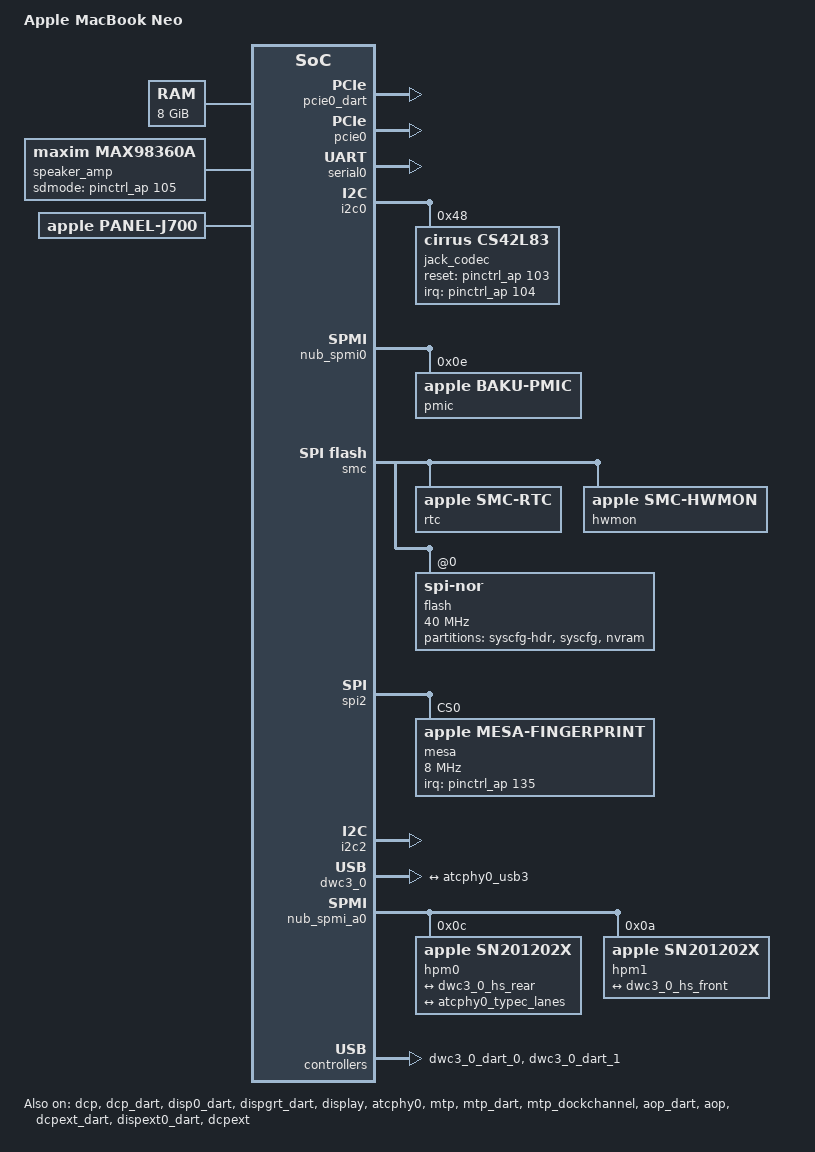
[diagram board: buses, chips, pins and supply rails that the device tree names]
// SPDX-License-Identifier: GPL-2.0+ OR MIT
/*
 * Apple MacBook Neo
 *
 * target-type: J700
 *
 * Copyright The Asahi Linux Contributors
 */

/dts-v1/;

#include "t8140.dtsi"
/ {
	compatible = "apple,j700", "apple,t8140", "apple,arm-platform";
	model = "Apple MacBook Neo";

	aliases {
		atcphy0 = &atcphy0;
		dcp = &dcp;
		dcp0 = &dcp;
		disp0 = &display;
		disp0_piodma = &disp0_piodma;
		serial0 = &serial0;
		keyboard = &keyboard;
	};

	chosen {
		#address-cells = <2>;
		#size-cells = <2>;
		ranges;
		stdout-path = "serial0";

		framebuffer0: framebuffer@0 {
			compatible = "apple,simple-framebuffer", "simple-framebuffer";
			reg = <0 0 0 0>; /* To be filled by loader */
			power-domains = <&ps_disp_cpu>;
			/* Format properties will be added by loader */
			status = "disabled";
		};
	};

	reserved-memory {
		#address-cells = <2>;
		#size-cells = <2>;
		ranges;
		/* To be filled by loader */
	};

	memory@800000000 {
		device_type = "memory";
		reg = <0x100 0 0x2 0>; /* To be filled by loader */
	};

	/* Live /arm-io/clock-frequencies entries 0x154 and 0x194. */
	clk_disp0_154: clock-disp0-154 {
		compatible = "fixed-clock";
		#clock-cells = <0>;
		clock-frequency = <300000000>;
		clock-output-names = "clk_disp0_154";
	};

	clk_disp0_194: clock-disp0-194 {
		compatible = "fixed-clock";
		#clock-cells = <0>;
		clock-frequency = <450000000>;
		clock-output-names = "clk_disp0_194";
	};
};

&dcp {
	clocks = <&clk_disp0_154>, <&clk_disp0_194>;
	clock-names = "clock-154", "clock-194";
	/* The iBoot and macOS captures both use IOMFB surface slot 0. */
	apple,iomfb-surfaces = <0>;
	status = "okay";

	panel: panel {
		compatible = "apple,panel-j700", "apple,panel";
		/* 2408x1506 at the ADT's measured 219 dpi. */
		width-mm = <279>;
		height-mm = <175>;
		/* ADT LmaxProduct is 525 in 16.16 fixed point. */
		apple,max-brightness = <525>;
	};
};

&dcp_dart {
	status = "okay";
};

&dcp_mbox {
	status = "okay";
};

&disp0_dart {
	status = "okay";
};

&dispgrt_dart {
	status = "okay";
};

/* The loader stops only the ASC CPU and leaves the display domain active. */
&ps_disp_cpu {
	apple,always-on;
};

&display {
	status = "okay";
};

&framebuffer0 {
	panel = <&panel>;
	post-init-providers = <&panel>;
};

/*
 * Phase-1 wireless inventory only.  The exact register windows, IRQs, port
 * count, MSI range and PERST GPIO come from the live J700 ADT captured as
 * neo-bringup/build/j700-live-adt.bin (SHA-256 f117dd865b13ce90336e5a070b333ea45b1620320be576260c0e36d5f24a2e3c).
 * m1n1 has already initialized port 0 and left its link up before Linux.
 * Describe only the generic host bridge here: no bogus Broadcom compatible,
 * no endpoint node, and no IOMMU RID/SID map until PCI enumeration proves the
 * two real functions and Phase 2 authorizes DMA.
 */
&soc {
	pcie0_dart: iommu@390000000 {
		compatible = "apple,t8140-dart", "apple,t8110-dart";
		reg = <0x3 0x90000000 0x0 0x20000>;
		#iommu-cells = <1>;
		interrupt-parent = <&aic>;
		interrupts = <AIC_IRQ 1206 IRQ_TYPE_LEVEL_HIGH>;
		power-domains = <&ps_apcie_sys_gp>;
	};

	pcie0: pcie@1cb0000000 {
		compatible = "apple,t8140-pcie", "apple,t6020-pcie";
		device_type = "pci";

		reg = <0x1c 0xb0000000 0x0 0x10000000>, /* ECAM */
		      <0x3 0x94000000 0x0 0x4000>,     /* RC */
		      <0x3 0x90028000 0x0 0x8000>,     /* port 0 */
		      <0x3 0x97020000 0x0 0x4000>;     /* port 0 PHY */
		reg-names = "config", "rc", "port0", "phy0";

		interrupt-parent = <&aic>;
		interrupts = <AIC_IRQ 1205 IRQ_TYPE_LEVEL_HIGH>;

		msi-controller;
		msi-parent = <&pcie0>;
		msi-ranges = <&aic AIC_IRQ 1331 IRQ_TYPE_EDGE_RISING 32>;
		power-domains = <&ps_apcie_sys_gp>;

		bus-range = <0 8>;
		#address-cells = <3>;
		#size-cells = <2>;
		ranges = <0x43000000 0xb 0xc0000000 0xb 0xc0000000 0x0 0x20000000>,
			 <0x02000000 0x0 0x80000000 0xb 0x80000000 0x0 0x40000000>;

		port00: pci@0,0 {
			device_type = "pci";
			reg = <0x0 0x0 0x0 0x0 0x0>;
			reset-gpios = <&pinctrl_ap 114 GPIO_ACTIVE_LOW>;
			/*
			 * Live J700 ADT function-reg_on is
			 * pKW8("pcIO", 0x800000, 0x80000).  Aurora IRC
			 * 92012-92014 records the hardware pass through the existing
			 * macsmc-gpio provider as pin 8.
			 */
			pwren-gpios = <&smc_gpio 8 GPIO_ACTIVE_HIGH>;
			maximum-link-speed = <2>;

			#address-cells = <3>;
			#size-cells = <2>;
			ranges;

			interrupt-controller;
			#interrupt-cells = <1>;
			interrupt-map-mask = <0 0 0 7>;
			interrupt-map = <0 0 0 1 &port00 0 0 0 0>,
					<0 0 0 2 &port00 0 0 0 1>,
					<0 0 0 3 &port00 0 0 0 2>,
					<0 0 0 4 &port00 0 0 0 3>;
		};
	};
};

&serial0 {
	status = "okay";
};

&pinctrl_ap {
	status = "okay";
};

/*
 * 3.5 mm headphone codec (live J700 ADT /arm-io/i2c0/audio-codec-output:
 * audio-control,cs42l83 at 0x48, function-reset GPIO 103, interrupts
 * [104, 1] on gpio0).  The m1n1 hardware proof released reset through
 * GPIO 103, read ID 42/a8/3a revision B0 and heard a tone at 24 dB
 * attenuation with upstream's 6 MHz -> 12 MHz MCLK PLL tuple.
 */
&i2c0 {
	status = "okay";

	jack_codec: codec@48 {
		compatible = "cirrus,cs42l83";
		reg = <0x48>;
		reset-gpios = <&pinctrl_ap 103 GPIO_ACTIVE_HIGH>;
		interrupt-parent = <&pinctrl_ap>;
		interrupts = <104 IRQ_TYPE_LEVEL_LOW>;
		#sound-dai-cells = <0>;
		cirrus,ts-inv = <1>;
		sound-name-prefix = "Jack";
	};
};

/*
 * Internal speaker amplifier (ADT audio-speaker audio-control,max98360,
 * function-reset GPIO 105 = the SD_MODE enable; in 25G76
 * AppleMAX98360Amp::SetMuteControl(1) drives it low, unmute high).  The
 * pin is iBoot's output-low at Linux boot and nothing raises it until a
 * driver takes sdmode-gpios: the codec driver from DAPM, or the bench
 * bounded-tone step (hrtimer-guarded, -50 dBFS ceiling).  The MAX98360
 * has no current/voltage sense, so speakersafetyd does not apply and the
 * digital ceiling lives in the machine driver.
 */
/ {
	speaker_amp: audio-amplifier {
		compatible = "maxim,max98360a";
		sdmode-gpios = <&pinctrl_ap 105 GPIO_ACTIVE_HIGH>;
		#sound-dai-cells = <0>;
		sound-name-prefix = "Speaker";
	};
};

&smc_mbox {
	status = "okay";
};

/*
 * The PMU (baku, USID 0xe on nub-spmi0) carries the boot-stage / error /
 * panic counters, the shutdown flag and the RTC offset as SPMI NVMEM cells
 * (J700 ADT pmu-main@E, info-leg_scrpad 0xf700, info-rtc 0xf802; satchlj's
 * t8140-j700-radio.dts, 2026-09-18).  Without the shutdown flag every
 * poweroff turns into a reboot.  The RTC offset cell is wired but not yet
 * proven to commit: rtc-macsmc reports an invalid time until an offset
 * exists rather than 1971.
 */
&{/soc} {
	nub_spmi0: spmi@308714000 {
		compatible = "apple,t8140-spmi", "apple,t8103-spmi";
		reg = <0x3 0x08714000 0x0 0x100>;
		#address-cells = <2>;
		#size-cells = <0>;
		#interrupt-cells = <2>;
		interrupt-controller;
		interrupt-parent = <&aic>;
		interrupts = <AIC_IRQ 487 IRQ_TYPE_LEVEL_HIGH>;
		power-domains = <&ps_nub_spmi0>;

		pmic@e {
			compatible = "apple,baku-pmic", "apple,spmi-nvmem";
			reg = <0xe SPMI_USID>;

			nvmem-layout {
				compatible = "fixed-layout";
				#address-cells = <1>;
				#size-cells = <1>;

				boot_stage: boot-stage@f701 { reg = <0xf701 0x1>; };
				boot_error_count: boot-error-count@f702,0 { reg = <0xf702 0x1>; bits = <0 4>; };
				panic_count: panic-count@f702,4 { reg = <0xf702 0x1>; bits = <4 4>; };
				shutdown_flag: shutdown-flag@f70f,3 { reg = <0xf70f 0x1>; bits = <3 1>; };
				/* macOS: legacy scratchpad +4, 64-bit seconds; 0xf802 is the 65536 Hz counter itself */
				rtc_offset: rtc-offset@f704 { reg = <0xf704 0x8>; };
			};
		};
	};
};

&smc {
	status = "okay";

	reboot {
		compatible = "apple,smc-reboot";
		nvmem-cells = <&shutdown_flag>, <&boot_stage>, <&boot_error_count>, <&panic_count>;
		nvmem-cell-names = "shutdown_flag", "boot_stage", "boot_error_count", "panic_count";
	};

	rtc {
		compatible = "apple,smc-rtc";
		nvmem-cells = <&rtc_offset>;
		nvmem-cell-names = "rtc_offset";
		apple,rtc-offset-seconds;
	};

	/*
	 * Exactly the six SMC die temperatures the J700 CPU thermal policy samples
	 * (apple-smc-cpu-thermal, cleanroom 0d7db87fa26c): the policy refuses any
	 * other temperature channel set, so keep this list as is.
	 */
	hwmon {
		compatible = "apple,smc-hwmon";
		apple,cpu-thermal-policy;

		temperature-Te05 {
			apple,key-id = "Te05";
			label = "E-cluster Temperature 1";
		};
		temperature-Te0S {
			apple,key-id = "Te0S";
			label = "E-cluster Temperature 2";
		};
		temperature-Tp01 {
			apple,key-id = "Tp01";
			label = "P-cluster Temperature 1";
		};
		temperature-Tp05 {
			apple,key-id = "Tp05";
			label = "P-cluster Temperature 2";
		};
		temperature-Tp09 {
			apple,key-id = "Tp09";
			label = "P-cluster Temperature 3";
		};
		temperature-Tp0D {
			apple,key-id = "Tp0D";
			label = "P-cluster Temperature 4";
		};

		/*
		 * Whole-machine power telemetry (the keys hwmon-common.dtsi
		 * expects everywhere; a key the J700 SMC lacks is skipped).
		 * The backlight work reads these to show the panel power
		 * following the brightness with the machine on AC.
		 */
		power-PSTR {
			apple,key-id = "PSTR";
			label = "Total System Power";
		};
		power-PDTR {
			apple,key-id = "PDTR";
			label = "AC Input Power";
		};
	};
};

&smc_mbox {
	status = "okay";
};

&smc {
	status = "okay";

	flash@0 {
		compatible = "jedec,spi-nor";
		reg = <0>;
		spi-max-frequency = <40000000>;

		partitions {
			compatible = "fixed-partitions";
			#address-cells = <1>;
			#size-cells = <1>;

			/*
			 * ADT /arm-io/qspi/spinor/syscfg reg: <0x0 0x2000>, <0x4000 0x20000>
			 * ("diagnostic-data,format1"): the factory station log ("iPCB"
			 * records) and an erased area.  The per-device calibration (FDR)
			 * is not here; it lives on the NVMe Hardware APFS volume.  Exposed
			 * read-only for diagnostics; nothing may write these ranges.
			 */
			syscfg_hdr: partition@0 {
				label = "syscfg-hdr";
				reg = <0x0 0x2000>;
				read-only;
			};

			syscfg: partition@4000 {
				label = "syscfg";
				reg = <0x4000 0x20000>;
				read-only;
			};

			nvram: partition@24000 {
				label = "nvram";
				reg = <0x24000 0x1d0000>;
			};
		};
	};
};

/*
 * Touch ID: the Mesa fingerprint sensor in the power button (ADT
 * /arm-io/spi2/mesa, "biosensor,mesa", mesaType 1, sensor-id 0x3356, 8 MHz,
 * interrupts [135, 3] on gpio0 = the data-ready line).  Its two rails are not
 * AP GPIOs on the J700: the ADT's function-mesa_pwr1v8 / function-mesa_pwr are
 * pKW8 writes of SMC key "pcLD" through the SMC PMU nub (8-byte payload:
 * u16 on/off, then the rail word 0x01010000 for 1.8 V and 0x01020000 for
 * 3.0 V), so the sensor node names the key and rail words for the SEP driver's
 * SMC power path instead of enable-gpios.  power-on-delay 7 ms / power-off-delay
 * 10 ms are the ADT's.  The calibration blob is this unit's FDR class FSCl
 * (biometrickitd's "FDR" calibration source 3), taken read-only from the
 * Hardware APFS volume of the iBoot system container.
 */
&spi2 {
	status = "okay";

	mesa: fingerprint@0 {
		compatible = "apple,mesa-fingerprint";
		reg = <0>;
		spi-max-frequency = <8000000>;
		spi-cpol;
		spi-cs-setup-delay-ns = <20>;
		spi-cs-hold-delay-ns = <20>;
		interrupt-parent = <&pinctrl_ap>;
		interrupts = <135 IRQ_TYPE_EDGE_RISING>;
		apple,smc-power-key = "pcLD";
		apple,smc-power-rails = <0x01010000 0x01020000>;
		firmware-name = "apple/mesacal-j700.bin";
		status = "okay";
	};
};

/*
 * Keep the fixed VL122 out of reset for the complete Linux lifetime.  Its I2C
 * plane NACKs while the USB core is running, so only configure and open the
 * independent TICD2E22 eUSB repeater at address 0x21.
 */
&i2c2 {
	apple,j700-usb-apply-repeater-tunable;
	apple,j700-usb-read-only-diagnostics;
	hub-reset-gpios = <&pinctrl_ap 142 GPIO_ACTIVE_HIGH>;
	status = "okay";
};

&dwc3_0 {
	/delete-property/ hub-reset-gpios;
	apple,usb2-hub-always-on;
	status = "okay";

	/*
	 * One fixed VL122 hub fans this DWC3 USB2 link out to both HPMs.  Keep
	 * separate role-switch inputs so either connector can report cable state
	 * without tearing down or stealing the shared always-on host.
	 */
	usb2-role-inputs {
		#address-cells = <1>;
		#size-cells = <0>;

		usb2-role-input@0 {
			reg = <0>;
			usb-role-switch;

			port {
				dwc3_0_hs_rear: endpoint {
					remote-endpoint = <&typec0_connector_hs>;
				};
			};
		};

		usb2-role-input@1 {
			reg = <1>;
			usb-role-switch;

			port {
				dwc3_0_hs_front: endpoint {
					remote-endpoint = <&typec1_connector_hs>;
				};
			};
		};
	};

	ports {
		#address-cells = <1>;
		#size-cells = <0>;

		port@1 {
			reg = <1>;

			dwc3_0_ss: endpoint {
				remote-endpoint = <&atcphy0_usb3>;
			};
		};
	};
};

/*
 * J700 has one DWC3 and two HPMs.  Both connectors' USB2 signals reach DWC3
 * through the permanently connected VL122 hub, so neither HPM is a USB2 role
 * source: disconnecting either downstream cable must leave the host and hub
 * running.  The rear/DFU-side HPM owns the only direct ATC/SuperSpeed lane;
 * the front connector has no direct ATC endpoint.
 */
&nub_spmi_a0 {
	status = "okay";

	hpm0: usb-pd@c {
		compatible = "apple,sn201202x";
		reg = <0xc SPMI_USID>;
		interrupts = <11 IRQ_TYPE_EDGE_RISING>,
			     <13 IRQ_TYPE_EDGE_RISING>,
			     <17 IRQ_TYPE_EDGE_RISING>,
			     <19 IRQ_TYPE_EDGE_RISING>;
		interrupt-names = "irq", "select", "sleep", "wake";

		typec0: connector {
			compatible = "usb-c-connector";
			label = "USB-C Left-rear";
			power-role = "dual";
			data-role = "host";

			ports {
				#address-cells = <1>;
				#size-cells = <0>;

				port@0 {
					reg = <0>;

					typec0_connector_hs: endpoint {
						remote-endpoint = <&dwc3_0_hs_rear>;
					};
				};

				port@1 {
					reg = <1>;

					typec0_connector_ss: endpoint {
						remote-endpoint = <&atcphy0_typec_lanes>;
					};
				};
			};
		};
	};

	hpm1: usb-pd@a {
		compatible = "apple,sn201202x";
		reg = <0xa SPMI_USID>;
		interrupts = <37 IRQ_TYPE_EDGE_RISING>,
			     <39 IRQ_TYPE_EDGE_RISING>,
			     <43 IRQ_TYPE_EDGE_RISING>,
			     <45 IRQ_TYPE_EDGE_RISING>;
		interrupt-names = "irq", "select", "sleep", "wake";

		typec1: connector {
			compatible = "usb-c-connector";
			label = "USB-C Left-front";
			power-role = "dual";
			data-role = "host";

			port {
				typec1_connector_hs: endpoint {
					remote-endpoint = <&dwc3_0_hs_front>;
				};
			};
		};
	};
};

&atcphy0 {
	/*
	 * Live J700 ADT tunable_USB2PHY_REG_DFLT.  XNU applies this to ATC
	 * memory region 2 at the end of AppleT8130TypeCPhy::eusb2phy_init().
	 */
	apple,tunable-usb2phy-reg-dflt =
		<0x80 0x000000ff 0x00000017>,
		<0x84 0x000003ff 0x000000c8>,
		<0x88 0x000000ff 0x00000005>,
		<0x8c 0x000003ff 0x00000005>;
	status = "okay";

	ports {
		#address-cells = <1>;
		#size-cells = <0>;

		port@0 {
			reg = <0>;

			atcphy0_typec_lanes: endpoint {
				remote-endpoint = <&typec0_connector_ss>;
			};
		};

		port@1 {
			reg = <1>;

			atcphy0_usb3: endpoint {
				remote-endpoint = <&dwc3_0_ss>;
			};
		};
	};
};

&dwc3_0_dart_0 {
	status = "okay";
};

&dwc3_0_dart_1 {
	status = "okay";
};

/*
 * iBoot leaves both SMC I2C domains active.  Powering either one down on
 * J700 causes a delayed SError, so Linux must preserve the inherited state.
 */
&ps_smc_i2cm1 {
	apple,always-on;
};

&ps_smc_i2cm2 {
	apple,always-on;
};

&smc_mbox {
	status = "okay";
};

&smc {
	status = "okay";

	/*
	 * Exactly the six SMC die temperatures the J700 CPU thermal policy samples
	 * (apple-smc-cpu-thermal, cleanroom 0d7db87fa26c): the policy refuses any
	 * other temperature channel set, so keep this list as is.
	 */
	hwmon {
		compatible = "apple,smc-hwmon";
		apple,cpu-thermal-policy;

		temperature-Te05 {
			apple,key-id = "Te05";
			label = "E-cluster Temperature 1";
		};
		temperature-Te0S {
			apple,key-id = "Te0S";
			label = "E-cluster Temperature 2";
		};
		temperature-Tp01 {
			apple,key-id = "Tp01";
			label = "P-cluster Temperature 1";
		};
		temperature-Tp05 {
			apple,key-id = "Tp05";
			label = "P-cluster Temperature 2";
		};
		temperature-Tp09 {
			apple,key-id = "Tp09";
			label = "P-cluster Temperature 3";
		};
		temperature-Tp0D {
			apple,key-id = "Tp0D";
			label = "P-cluster Temperature 4";
		};

		/*
		 * Reporting-only channels.  They must stay after the six policy
		 * die temperatures above, which the CPU thermal policy samples by
		 * position.  Every key here was read back live from the SMC on
		 * this machine and tracks plausibly; the placement implied by
		 * each label follows Apple's SMC key conventions and has not been
		 * cross-checked against macOS.
		 */
		temperature-TB0T {
			apple,key-id = "TB0T";
			label = "Battery";
		};
		temperature-TH0p {
			apple,key-id = "TH0p";
			label = "Storage (NAND)";
		};
		temperature-TW0p {
			apple,key-id = "TW0p";
			label = "Wi-Fi Module";
		};
		temperature-TUCp {
			apple,key-id = "TUCp";
			label = "USB-C Port";
		};
		temperature-TaTp {
			apple,key-id = "TaTp";
			label = "Ambient";
		};
		temperature-TCMz {
			apple,key-id = "TCMz";
			label = "Charger";
		};
		temperature-Ts0A {
			apple,key-id = "Ts0A";
			label = "Chassis 1";
		};
		temperature-Ts0I {
			apple,key-id = "Ts0I";
			label = "Chassis 2";
		};
		temperature-Ts0M {
			apple,key-id = "Ts0M";
			label = "Chassis 3";
		};

		/*
		 * The rest of the SMC's live temperature channels, enumerated from
		 * the firmware's own key table (see smc-keyspace/ in the session
		 * findings): every key here read back in a plausible range and moved
		 * between samples.  Apple's placement for these is unknown, so they
		 * carry the raw key as their label rather than an invented name.
		 */
		temperature-TBLp {
			apple,key-id = "TBLp";
			label = "SMC TBLp";
		};
		temperature-TCMb {
			apple,key-id = "TCMb";
			label = "SMC TCMb";
		};
		temperature-TPD0 {
			apple,key-id = "TPD0";
			label = "SMC TPD0";
		};
		temperature-TPD1 {
			apple,key-id = "TPD1";
			label = "SMC TPD1";
		};
		temperature-TPD2 {
			apple,key-id = "TPD2";
			label = "SMC TPD2";
		};
		temperature-TPD3 {
			apple,key-id = "TPD3";
			label = "SMC TPD3";
		};
		temperature-TPD4 {
			apple,key-id = "TPD4";
			label = "SMC TPD4";
		};
		temperature-TPD5 {
			apple,key-id = "TPD5";
			label = "SMC TPD5";
		};
		temperature-TPD6 {
			apple,key-id = "TPD6";
			label = "SMC TPD6";
		};
		temperature-TR5p {
			apple,key-id = "TR5p";
			label = "SMC TR5p";
		};
		temperature-TRD0 {
			apple,key-id = "TRD0";
			label = "SMC TRD0";
		};
		temperature-TRD1 {
			apple,key-id = "TRD1";
			label = "SMC TRD1";
		};
		temperature-TRD2 {
			apple,key-id = "TRD2";
			label = "SMC TRD2";
		};
		temperature-TRD3 {
			apple,key-id = "TRD3";
			label = "SMC TRD3";
		};
		temperature-TS0p {
			apple,key-id = "TS0p";
			label = "SMC TS0p";
		};
		temperature-TS1p {
			apple,key-id = "TS1p";
			label = "SMC TS1p";
		};
		temperature-TTSp {
			apple,key-id = "TTSp";
			label = "SMC TTSp";
		};
		temperature-TVA0 {
			apple,key-id = "TVA0";
			label = "SMC TVA0";
		};
		temperature-TVA1 {
			apple,key-id = "TVA1";
			label = "SMC TVA1";
		};
		temperature-TVD0 {
			apple,key-id = "TVD0";
			label = "SMC TVD0";
		};
		temperature-TVMR {
			apple,key-id = "TVMR";
			label = "SMC TVMR";
		};
		temperature-TVS0 {
			apple,key-id = "TVS0";
			label = "SMC TVS0";
		};
		temperature-TVS1 {
			apple,key-id = "TVS1";
			label = "SMC TVS1";
		};
		temperature-TVS3 {
			apple,key-id = "TVS3";
			label = "SMC TVS3";
		};
		temperature-TVS4 {
			apple,key-id = "TVS4";
			label = "SMC TVS4";
		};
		temperature-TVmS {
			apple,key-id = "TVmS";
			label = "SMC TVmS";
		};
		temperature-Te04 {
			apple,key-id = "Te04";
			label = "SMC Te04";
		};
		temperature-Te06 {
			apple,key-id = "Te06";
			label = "SMC Te06";
		};
		temperature-Te0R {
			apple,key-id = "Te0R";
			label = "SMC Te0R";
		};
		temperature-Te0T {
			apple,key-id = "Te0T";
			label = "SMC Te0T";
		};
		temperature-Tex0 {
			apple,key-id = "Tex0";
			label = "SMC Tex0";
		};
		temperature-Tex1 {
			apple,key-id = "Tex1";
			label = "SMC Tex1";
		};
		temperature-Tex2 {
			apple,key-id = "Tex2";
			label = "SMC Tex2";
		};
		temperature-Tex3 {
			apple,key-id = "Tex3";
			label = "SMC Tex3";
		};
		temperature-Tp00 {
			apple,key-id = "Tp00";
			label = "SMC Tp00";
		};
		temperature-Tp02 {
			apple,key-id = "Tp02";
			label = "SMC Tp02";
		};
		temperature-Tp04 {
			apple,key-id = "Tp04";
			label = "SMC Tp04";
		};
		temperature-Tp06 {
			apple,key-id = "Tp06";
			label = "SMC Tp06";
		};
		temperature-Tp08 {
			apple,key-id = "Tp08";
			label = "SMC Tp08";
		};
		temperature-Tp0A {
			apple,key-id = "Tp0A";
			label = "SMC Tp0A";
		};
		temperature-Tp0C {
			apple,key-id = "Tp0C";
			label = "SMC Tp0C";
		};
		temperature-Tp0E {
			apple,key-id = "Tp0E";
			label = "SMC Tp0E";
		};
		temperature-Tp0l {
			apple,key-id = "Tp0l";
			label = "SMC Tp0l";
		};
		temperature-Tp0m {
			apple,key-id = "Tp0m";
			label = "SMC Tp0m";
		};
		temperature-Tp0n {
			apple,key-id = "Tp0n";
			label = "SMC Tp0n";
		};
		temperature-Tp0o {
			apple,key-id = "Tp0o";
			label = "SMC Tp0o";
		};
		temperature-Tp0q {
			apple,key-id = "Tp0q";
			label = "SMC Tp0q";
		};
		temperature-Tp0t {
			apple,key-id = "Tp0t";
			label = "SMC Tp0t";
		};
		temperature-Tpx0 {
			apple,key-id = "Tpx0";
			label = "SMC Tpx0";
		};
		temperature-Tpx1 {
			apple,key-id = "Tpx1";
			label = "SMC Tpx1";
		};
		temperature-Tpx2 {
			apple,key-id = "Tpx2";
			label = "SMC Tpx2";
		};
		temperature-Tpx3 {
			apple,key-id = "Tpx3";
			label = "SMC Tpx3";
		};
		temperature-Ts00 {
			apple,key-id = "Ts00";
			label = "SMC Ts00";
		};
		temperature-Ts01 {
			apple,key-id = "Ts01";
			label = "SMC Ts01";
		};
		temperature-Ts02 {
			apple,key-id = "Ts02";
			label = "SMC Ts02";
		};
		temperature-Ts04 {
			apple,key-id = "Ts04";
			label = "SMC Ts04";
		};
		temperature-Ts05 {
			apple,key-id = "Ts05";
			label = "SMC Ts05";
		};
		temperature-Ts06 {
			apple,key-id = "Ts06";
			label = "SMC Ts06";
		};
		temperature-Ts08 {
			apple,key-id = "Ts08";
			label = "SMC Ts08";
		};
		temperature-Ts09 {
			apple,key-id = "Ts09";
			label = "SMC Ts09";
		};
		temperature-Ts0C {
			apple,key-id = "Ts0C";
			label = "SMC Ts0C";
		};
		temperature-Ts0D {
			apple,key-id = "Ts0D";
			label = "SMC Ts0D";
		};
		temperature-Ts0E {
			apple,key-id = "Ts0E";
			label = "SMC Ts0E";
		};
		temperature-Ts0G {
			apple,key-id = "Ts0G";
			label = "SMC Ts0G";
		};
		temperature-Ts0H {
			apple,key-id = "Ts0H";
			label = "SMC Ts0H";
		};
		temperature-Ts0K {
			apple,key-id = "Ts0K";
			label = "SMC Ts0K";
		};
		temperature-Ts0L {
			apple,key-id = "Ts0L";
			label = "SMC Ts0L";
		};
		temperature-Tsx0 {
			apple,key-id = "Tsx0";
			label = "SMC Tsx0";
		};
		temperature-Tsx1 {
			apple,key-id = "Tsx1";
			label = "SMC Tsx1";
		};
	};
};

/*
 * Keep U-Boot from owning this transport on T8140.  Its driver explicitly
 * declines the device before touching RTKit; Linux must initialize MTP first.
 */
&mtp {
	status = "okay";
};

&mtp_mbox {
	status = "okay";
};

&mtp_dart {
	status = "okay";
};

&mtp_dockchannel {
	status = "okay";
};

&mtp_hid {
	apple,no-stm;
	apple,afe-reset-gpios = <&smc_gpio 0x13 GPIO_ACTIVE_LOW>;

	multi-touch {
		compatible = "apple,j700-multitouch";
		firmware-name = "apple/tpmtfw-j700.bin";
		apple,power-method = <2>;
	};

	keyboard: keyboard {
		hid-country-code = <33>;
		apple,keyboard-layout-id = <5>;
	};
};

/*
 * PMP: the stopped-epoch owner of the preloaded T8140 PMP firmware and the
 * J700 fast CPU thermal policy (CONFIG_APPLE_PMP_V2_THERMAL).  The own-device
 * metadata the cleanroom bootloader would forward is generated from this
 * machine's ADT into t8140-j700-pmp.dtsi.
 */
&pmp_mbox {
	status = "okay";
};

#include "t8140-j700-pmp.dtsi"

/*
 * FaceTime HD camera: IMX558 behind the ISP17a.  The platform id is the ADT
 * sensor-type (0x70) the macOS 25G83 init passes in the H16 boot descriptor;
 * the newer IMX558 machines run the temporal filter at strength 1.
 */
#include "isp-imx558.dtsi"

&isp {
	apple,platform-id = <0x70>;
	apple,temporal-filter = <1>;
};

/* AOP: the audio fabric owner (low-power microphone first). */
&aop_dart {
	status = "okay";
};

&aop_mbox {
	status = "okay";
};

&aop_setup_mbox {
	status = "okay";
};

&aop {
	status = "okay";
};

&aop_audio {
	apple,chassis-name = "J700";
	apple,machine-kind = "MacBook Neo";
};

&admac_leap_ns {
	status = "okay";
};

&admac_base_ns {
	status = "okay";
};

/*
 * The secure LEAP ADMAC.  It carries the high-quality microphone array's only
 * data path (ADT audio-hp-mic, dma-provider-rx = leap-s-adma-rx-0), and macOS
 * reaches it through the HPMicAudioDriver exclave's proxy aperture at
 * 0x353200000.  With no secure kernel running nothing claims it, and the AOP
 * attaches the array to an ordinary EPIC client, so the host can own the
 * controller directly.
 *
 * Unlike its two siblings this node still has `resets`; if a reset pulse here
 * disturbs the LEAP fabric the way it did for admac_leap_ns, drop the property
 * rather than the node.
 */
&admac_leap_s {
	status = "okay";
};

/*
 * The sound card (macaudio's J700 variant): the 3.5 mm jack (AOP cout/cin
 * services on the audio child's DAI 0 with the CS42L83) and the internal
 * speakers (DAI 4, the LEAP serializer into the MAX98360A amplifiers).
 */
/ {
	sound {
		compatible = "apple,j700-macaudio", "apple,macaudio";
		model = "MacBook Neo J700";

		dai-link@0 {
			link-name = "Headphone Jack";

			cpu {
				sound-dai = <&aop_audio 0>;
			};
			codec {
				sound-dai = <&jack_codec>;
			};
		};

		/*
		 * Internal speakers: the AOP's LEAP TX0 (spkr service) into the
		 * MAX98360A, whose SD_MODE the codec driver drives.  The CPU DAI
		 * fixes the digital level at -20 dBFS on the wire.
		 */
		dai-link@1 {
			link-name = "Speaker";

			cpu {
				sound-dai = <&aop_audio 4>;
			};
			codec {
				sound-dai = <&speaker_amp>;
			};
		};
	};
};

/*
 * External display pipe.  Proven on hardware: the coprocessor boots, RTKit
 * handshakes at protocol version 12, the firmware's AFK logging comes up and
 * apple-drm binds it, adding a second connector beside the internal eDP.
 * No external display was attached when this was verified, so what is shown
 * on one has not been exercised.
 */
&dcpext_dart {
	status = "okay";
};

&dispext0_dart {
	status = "okay";
};

&dcpext_mbox {
	status = "okay";
};

&dcpext {
	clocks = <&clk_disp0_154>, <&clk_disp0_194>;
	clock-names = "clock-154", "clock-194";
	apple,iomfb-surfaces = <0>;
	status = "okay";
};
